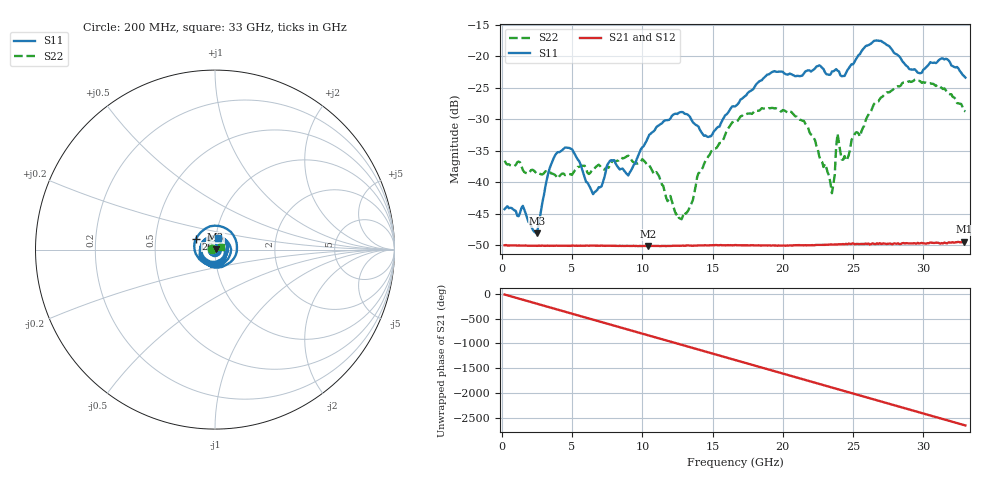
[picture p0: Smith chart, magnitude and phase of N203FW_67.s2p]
# GHZ S RI R 50
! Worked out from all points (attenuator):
!   329 points, 200 MHz to 33 GHz, reference 50 ohm
!   highest |S21| = -49.41 dB at 32.9 GHz (marker M1); lowest = -50.1 dB at 10.4 GHz (marker M2)
!   lowest |S11| = -48.1 dB at 2.5 GHz (marker M3), VSWR 1.01, Z = 50.3 + j0.218 ohm
!   |S11| at or under -10 dB: start of sweep to end of sweep
!   |S22| runs from -45.8 to -23.6 dB; largest |S21 - S12| = 8.8e-05
!   S11 on the Smith chart (normalised r, x): 200 MHz: 1.01, +0.00; 26 GHz: 0.80, +0.10; 33 GHz: 1.02, +0.14
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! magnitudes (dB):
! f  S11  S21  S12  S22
! 200 MHz  -44.2  -50.0  -49.9  -36.5
! 2.5 GHz  -48.1  -50.1  -50.0  -38.6
! 3.9 GHz  -35.4  -50.0  -50.0  -39.1
! 5.7 GHz  -37.8  -50.0  -50.0  -37.4
! 6.5 GHz  -41.9  -50.0  -50.0  -38.1
! 7.7 GHz  -36.6  -50.0  -50.0  -37.3
! 9 GHz  -38.9  -50.1  -50.1  -35.8
! 10.4 GHz  -32.9  -50.1  -50.1  -37.3
! 11.2 GHz  -30.9  -50.1  -50.1  -39.0
! 12.8 GHz  -28.8  -50.0  -50.0  -45.8
! 14.7 GHz  -32.8  -50.0  -50.0  -35.9
! 16.6 GHz  -27.9  -49.9  -49.9  -30.4
! 19.5 GHz  -22.4  -50.0  -50.0  -28.2
! 22.1 GHz  -22.3  -49.9  -49.9  -32.5
! 23.5 GHz  -22.4  -49.9  -49.8  -41.7
! 23.9 GHz  -22.3  -49.8  -49.8  -32.3
! 24.5 GHz  -22.6  -49.7  -49.7  -36.5
! 26 GHz  -18.3  -49.8  -49.7  -29.6
! 27.6 GHz  -18.4  -49.7  -49.7  -25.7
! 29.5 GHz  -22.3  -49.7  -49.6  -23.6
! 32.9 GHz  -23.1  -49.4  -49.4  -28.6
! 33 GHz  -23.4  -49.4  -49.5  -28.7
